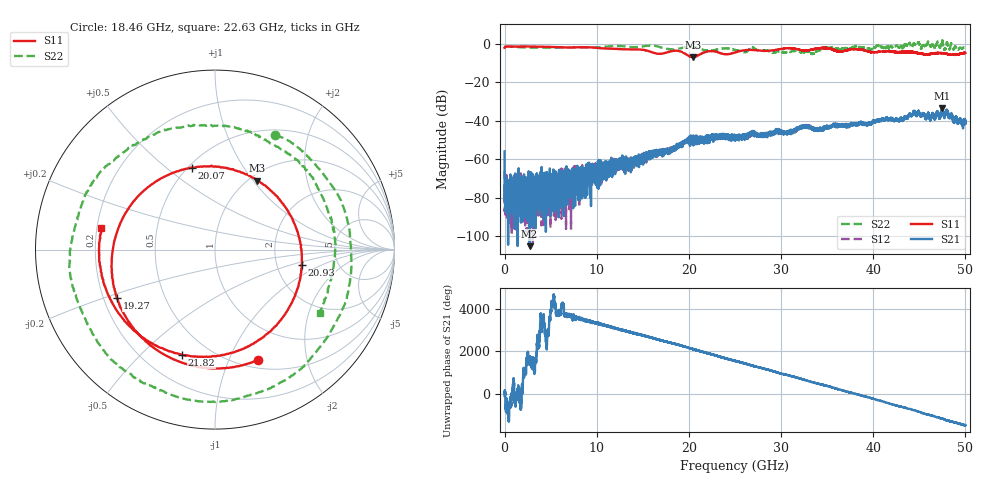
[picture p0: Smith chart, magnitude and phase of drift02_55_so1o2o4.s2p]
!Created with skrf (http://scikit-rf.org).
# Hz S RI R 50.0
!freq ReS11 ImS11 ReS21 ImS21 ReS12 ImS12 ReS22 ImS22
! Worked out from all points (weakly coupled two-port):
!   10001 points, 300 kHz to 50 GHz, reference 50 ohm
!   highest |S21| = -33.33 dB at 47.49 GHz (marker M1); lowest = -105.3 dB at 2.705 GHz (marker M2)
!   lowest |S11| = -6.9 dB at 20.41 GHz (marker M3), VSWR 2.64, Z = 54.3 + j52.3 ohm
!   |S11| at or under -10 dB: nowhere
!   |S22| runs from -5.3 to 1.7 dB; largest |S21 - S12| = 0.0036
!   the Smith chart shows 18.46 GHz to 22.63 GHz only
!   S11 on the Smith chart (normalised r, x): 18.46 GHz: 0.59, -1.28; 19.27 GHz: 0.26, -0.22; 20.07 GHz: 0.52, +0.62; 20.93 GHz: 2.76, -0.63; 21.82 GHz: 0.36, -0.67; 22.63 GHz: 0.22, +0.09
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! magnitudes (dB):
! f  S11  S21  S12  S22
! 300 kHz  -2.1  -55.9  -66.0  -1.3
! 255.3 MHz  -1.4  -85.9  -80.0  -1.4
! 2.705 GHz  -1.4  -105.3  -74.1  -1.9
! 5.66 GHz  -1.7  -79.7  -72.1  -2.0
! 8.335 GHz  -1.7  -66.5  -75.1  -1.9
! 16.67 GHz  -5.2  -56.7  -56.6  -1.4
! 18.46 GHz  -3.6  -54.2  -54.7  -2.8
! 19.27 GHz  -4.3  -51.0  -51.6  -2.1
! 20.07 GHz  -6.5  -49.8  -50.2  -1.5
! 20.41 GHz  -6.9  -49.0  -50.0  -1.7
! 20.93 GHz  -6.2  -50.5  -49.8  -2.2
! 21.82 GHz  -4.2  -50.8  -50.5  -3.5
! 22.63 GHz  -3.8  -48.1  -49.1  -3.3
! 25 GHz  -4.5  -48.3  -48.5  -3.2
! 26.11 GHz  -3.3  -48.2  -48.0  -4.3
! 26.9 GHz  -3.2  -47.5  -46.5  -1.6
! 33.34 GHz  -3.0  -44.4  -43.7  -5.1
! 34.89 GHz  -2.2  -43.6  -43.5  -2.3
! 41.67 GHz  -4.0  -39.5  -39.1  -2.0
! 44.39 GHz  -4.5  -35.3  -35.5  0.1
! 47.49 GHz  -4.8  -33.3  -33.8  1.7
! 50 GHz  -4.7  -41.3  -40.3  -1.4
